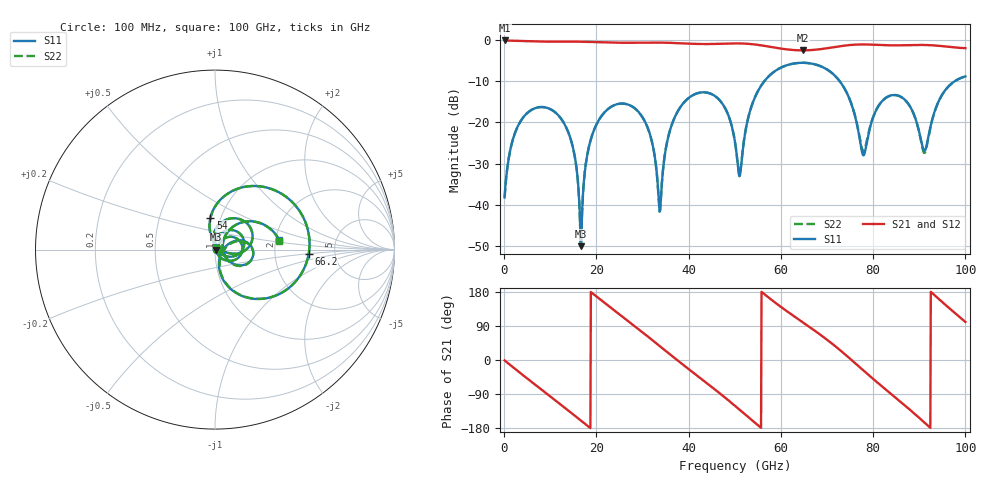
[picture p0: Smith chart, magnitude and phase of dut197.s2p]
! Touchstone file exported from HFSS 2026.1.0
!  File:  C:/ffzhzh/LocalFiles/Ansys_Project_Files/temp_test_TSV_RDL_197_1783480417_48356.aedt
!  Generated:  11:20:03 AM Jul  8, 2026
!  Design:  TSV_RDL
!  Project:  temp_test_TSV_RDL_197_1783480417_48356
! Variables:
!  h_bsmrdl = 2.14um
!  h_ox = 20um
!  h_rdl = 5um
!  h_sub = 76.84um
!  h_tmrdl = 4.72um
!  h_tsv = 76.84um
!  h_via = 3um
!  l_bsmrdl = 123.84um
!  l_sub = 3060.42um
!  l_tmrdl = 539.42um
!  m_sub = 200um
!  pitch = 40.47um
!  r_tsv = 14.63um
!  s_tmrdl = 10um
!  w_bsmrdl = 14.55um
!  w_sub = 500um
!  w_tmrdl = 29.19um
!  x_tsv_center1 = 554.015um
!  x_tsv_center2 = 692.405um
!  x_tsv_center3 = 1261.015um
!  x_tsv_center4 = 1399.405um
!  x_tsv_center5 = 1968.015um
!  x_tsv_center6 = 2106.405um
# GHz S MA R 50.000000
! Terminal data exported
! Port[1] = TM_RDL1_1_T1
! Port[2] = TM_RDL5_1_T1
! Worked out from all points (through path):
!   1000 points, 100 MHz to 100 GHz, reference 50 ohm
!   highest |S21| = -0.10 dB at 100 MHz (marker M1); lowest = -2.5 dB at 64.7 GHz (marker M2)
!   group delay of S21, straight-line fit = 26.9 ps
!   lowest |S11| = -50.1 dB at 16.6 GHz (marker M3), VSWR 1.01, Z = 50.3 - j0.05 ohm
!   |S11| at or under -10 dB: start of sweep to 56.42 GHz; 72.75 GHz to 97.7 GHz (24.94 GHz wide, 29.3 % of centre)
!   |S22| runs from -50.0 to -5.5 dB; largest |S21 - S12| = 6.8e-12
!   S11 on the Smith chart (normalised r, x): 100 MHz: 1.02, +0.01; 54 GHz: 0.89, +0.33; 66.2 GHz: 3.17, -0.23; 100 GHz: 2.10, +0.25
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0.1  0.01227 21.2  0.9886 -1.1  0.9886 -1.1  0.01227 21.2
! Gamma 0 0 0 0
! Port Impedance 50 0 50 0
3.2  0.09518 45.9  0.9741 -31.5  0.9741 -31.5  0.09517 45.9
9.4  0.1495 -7.9  0.9559 -90.4  0.9559 -90.4  0.1495 -7.9
14.3  0.06586 -51.5  0.9565 -137.2  0.9565 -137.2  0.06576 -51.5
16.6  0.003134 -9.1  0.954 -159.4  0.954 -159.4  0.00316 -7.2
16.8  0.005435 70.7  0.9536 -161.4  0.9536 -161.4  0.005545 70.6
19.1  0.07053 78.8  0.9469 176.4  0.9469 176.4  0.07059 78.7
24.4  0.1657 31.6  0.929 126.1  0.929 126.1  0.1657 31.5
30.6  0.1003 -23.0  0.9311 67.3  0.9311 67.3  0.1001 -23.0
33.4  0.0145 -20.1  0.9318 40.0  0.9318 40.0  0.01439 -19.5
40.7  0.2107 55.6  0.9009 -30.7  0.9009 -30.7  0.2107 55.6
50.1  0.05512 -12.1  0.9107 -121.4  0.9107 -121.4  0.0551 -11.3
51.2  0.02397 66.2  0.9096 -132.8  0.9096 -132.8  0.02483 66.3
54  0.1792 98.3  0.8883 -161.8  0.8883 -161.8  0.1797 98.0
64.7  0.5293 9.0  0.7498 99.9  0.7498 99.9  0.5295 9.0
66.2  0.5222 -2.9  0.7537 87.2  0.7537 87.2  0.5224 -2.8
66.7  0.5168 -6.8  0.7567 82.9  0.7567 82.9  0.517 -6.8
73.7  0.2632 -64.8  0.8544 17.0  0.8544 17.0  0.2637 -64.2
77.9  0.03974 -25.3  0.8842 -27.7  0.8842 -27.7  0.044 -25.6
83.4  0.208 2.1  0.864 -84.7  0.864 -84.7  0.2083 0.8
91.9  0.06371 43.4  0.8686 -173.5  0.8686 -173.5  0.06211 44.5
100  0.362 8.3  0.7981 100.5  0.7981 100.5  0.3619 7.8
